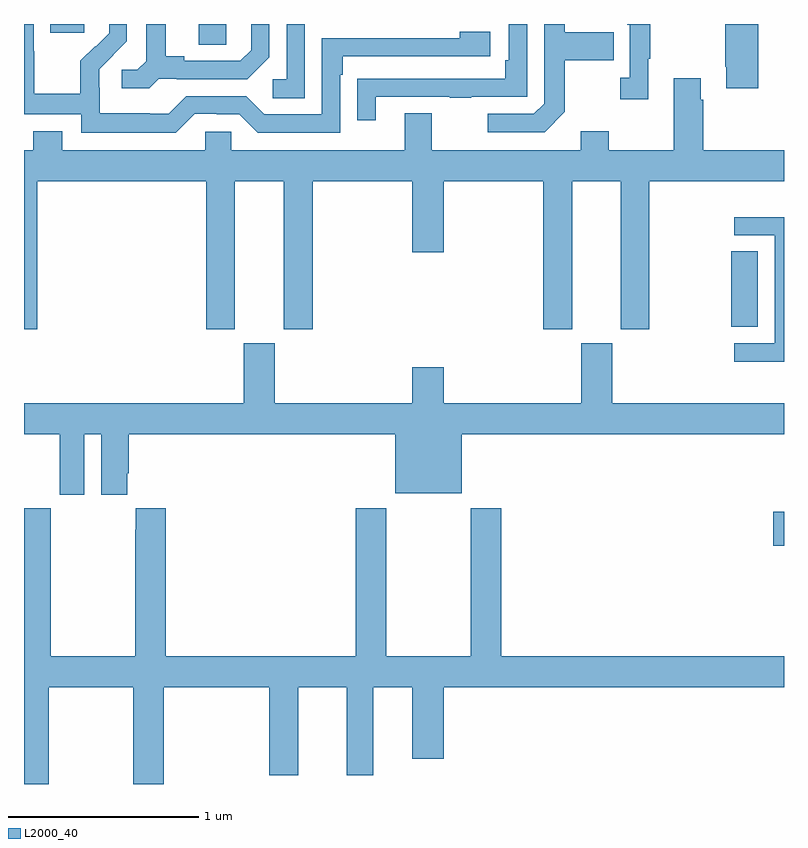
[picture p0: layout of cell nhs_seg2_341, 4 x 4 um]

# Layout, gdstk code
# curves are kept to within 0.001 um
import gdstk
lib = gdstk.Library(unit=1e-6, precision=1e-09)
def R(c, l, rs):  # rectangles x0, y0, x1, y1
    for r in rs: c.add(gdstk.rectangle(r[:2], r[2:], *l))
def P(c, l, *ps):  # polygons
    for p in ps: c.add(gdstk.Polygon(p, *l))
L2000_40 = (2000, 40)

nhs_seg2_341 = lib.new_cell('nhs_seg2_341')
R(nhs_seg2_341, L2000_40, [(130.944,643.055,131,643.233), (130.723,644.206,130.861,644.603), (127.919,645.691,128.064,645.8), (127.139,645.753,127.318,645.8)])
P(nhs_seg2_341, L2000_40, [(128.478,645.8),(128.382,645.8),(128.382,645.51),(128.31,645.51),(128.31,645.409),(128.478,645.409)],
  [(129.847,645.337),(129.847,645.61),(130.103,645.61),(130.103,645.757),(129.847,645.757),(129.847,645.8),(129.738,645.8),(129.738,645.381),(129.684,645.327),(129.441,645.327),(129.441,645.231),(129.741,645.231)],
  [(130.285,645.617),(130.297,645.617),(130.297,645.8),(130.176,645.8),(130.176,645.797),(130.188,645.797),(130.188,645.518),(130.137,645.518),(130.137,645.405),(130.285,645.405)],
  [(128.851,645.417),(129.241,645.417),(129.241,645.412),(129.353,645.412),(129.353,645.417),(129.648,645.417),(129.648,645.8),(129.552,645.8),(129.552,645.61),(129.532,645.61),(129.532,645.513),(128.857,645.513),(128.857,645.512),(128.755,645.512),(128.755,645.294),(128.851,645.294)],
  [(130.864,645.8),(130.69,645.8),(130.69,645.574),(130.697,645.574),(130.697,645.462),(130.864,645.462)],
  [(127.899,645.327),(128.015,645.327),(128.015,645.324),(128.133,645.324),(128.229,645.228),(128.664,645.228),(128.664,645.533),(128.677,645.533),(128.677,645.63),(129.454,645.63),(129.454,645.76),(129.293,645.76),(129.293,645.726),(128.568,645.726),(128.568,645.324),(128.265,645.324),(128.169,645.42),(127.854,645.42),(127.761,645.327),(127.661,645.327),(127.661,645.331),(127.398,645.331),(127.398,645.465),(127.396,645.465),(127.396,645.562),(127.542,645.71),(127.542,645.8),(127.448,645.8),(127.448,645.752),(127.377,645.681),(127.374,645.684),(127.297,645.607),(127.297,645.433),(127.053,645.433),(127.053,645.656),(127.05,645.656),(127.05,645.8),(127,645.8),(127,645.324),(127.302,645.324),(127.302,645.227),(127.799,645.227)],
  [(127.71,645.513),(127.804,645.513),(127.804,645.51),(128.176,645.51),(128.292,645.626),(128.292,645.8),(128.195,645.8),(128.195,645.663),(128.138,645.606),(127.843,645.606),(127.843,645.629),(127.747,645.629),(127.747,645.8),(127.643,645.8),(127.643,645.605),(127.596,645.558),(127.515,645.558),(127.515,645.461),(127.658,645.461)],
  [(131,645.136),(130.574,645.136),(130.574,645.401),(130.561,645.401),(130.561,645.514),(130.421,645.514),(130.421,645.136),(130.077,645.136),(130.077,645.235),(129.929,645.235),(129.929,645.136),(129.145,645.136),(129.145,645.331),(129.005,645.331),(129.005,645.136),(128.091,645.136),(128.091,645.234),(127.953,645.234),(127.953,645.136),(127.201,645.136),(127.201,645.235),(127.049,645.235),(127.049,645.136),(127,645.136),(127,644.193),(127.07,644.193),(127.07,644.972),(127.958,644.972),(127.958,644.193),(128.11,644.193),(128.11,644.972),(128.366,644.972),(128.366,644.193),(128.519,644.193),(128.519,644.972),(129.044,644.972),(129.044,644.598),(129.208,644.598),(129.208,644.972),(129.733,644.972),(129.733,644.193),(129.886,644.193),(129.886,644.972),(130.142,644.972),(130.142,644.193),(130.29,644.193),(130.29,644.972),(131,644.972)],
  [(131,644.784),(130.737,644.784),(130.737,644.688),(130.95,644.688),(130.95,644.121),(130.737,644.121),(130.737,644.023),(131,644.023)],
  [(127.318,643.64),(127.406,643.64),(127.406,643.323),(127.543,643.323),(127.543,643.435),(127.55,643.435),(127.55,643.64),(128.954,643.64),(128.954,643.331),(129.304,643.331),(129.304,643.64),(131,643.64),(131,643.804),(130.096,643.804),(130.096,644.121),(129.932,644.121),(129.932,643.804),(129.208,643.804),(129.208,643.993),(129.044,643.993),(129.044,643.804),(128.32,643.804),(128.32,644.121),(128.156,644.121),(128.156,643.804),(127,643.804),(127,643.64),(127.187,643.64),(127.187,643.323),(127.318,643.323)],
  [(127.131,642.308),(127.576,642.308),(127.576,641.8),(127.736,641.8),(127.736,642.308),(128.291,642.308),(128.291,641.847),(128.443,641.847),(128.443,642.308),(128.699,642.308),(128.699,641.847),(128.839,641.847),(128.839,642.308),(129.044,642.308),(129.044,641.934),(129.208,641.934),(129.208,642.308),(131,642.308),(131,642.472),(129.512,642.472),(129.512,643.252),(129.352,643.252),(129.352,642.472),(128.907,642.472),(128.907,643.252),(128.747,643.252),(128.747,642.472),(127.745,642.472),(127.745,643.252),(127.589,643.252),(127.589,643.139),(127.585,643.139),(127.585,642.472),(127.14,642.472),(127.14,643.252),(127,643.252),(127,641.8),(127.131,641.8)])

lib.write_gds('nhs_seg2_341.gds')
